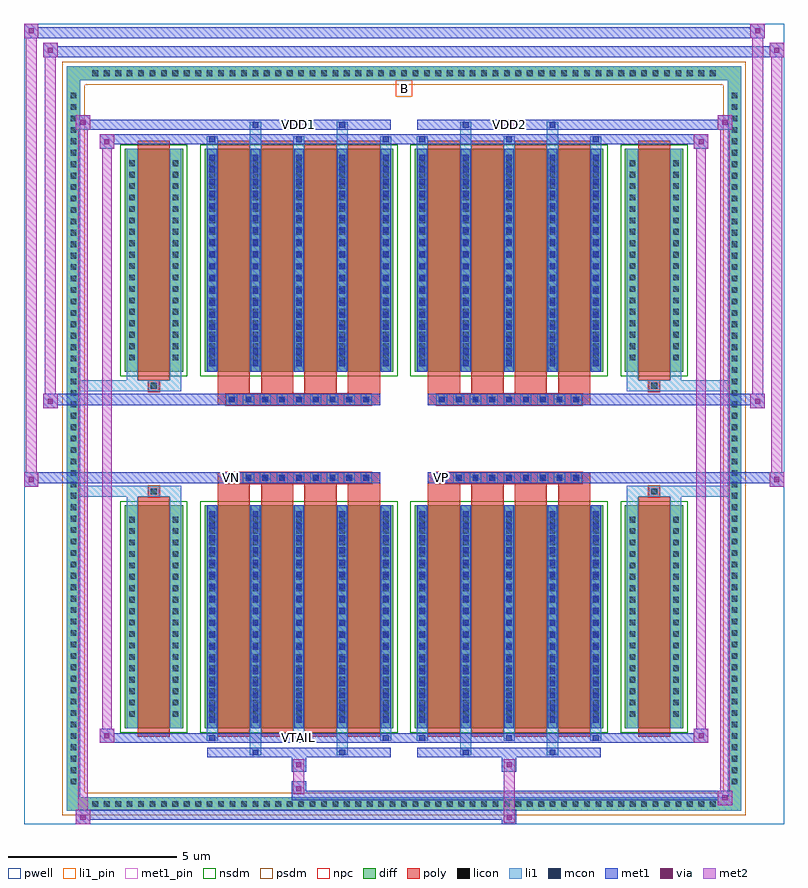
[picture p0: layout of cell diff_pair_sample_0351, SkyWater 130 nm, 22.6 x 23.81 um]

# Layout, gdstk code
import gdstk
lib = gdstk.Library(unit=1e-6, precision=5e-09)
def R(c, l, rs):  # rectangles x0, y0, x1, y1
    for r in rs: c.add(gdstk.rectangle(r[:2], r[2:], *l))
def A(c, l, x, y, w, h, nx, ny, dx, dy):  # array of equal rectangles
    R(c, l, [(x+i*dx, y+j*dy, x+i*dx+w, y+j*dy+h) for i in range(nx) for j in range(ny)])
def P(c, l, *ps):  # polygons
    for p in ps: c.add(gdstk.Polygon(p, *l))
pwell = (64, 44)
diff = (65, 20)
poly = (66, 20)
licon = (66, 44)
li1_pin = (67, 16)
li1 = (67, 20)
mcon = (67, 44)
met1_pin = (68, 16)
met1 = (68, 20)
via = (68, 44)
met2 = (69, 20)
nsdm = (93, 44)
psdm = (94, 20)
npc = (95, 20)

diff_pair_sample_0351 = lib.new_cell('diff_pair_sample_0351')
R(diff_pair_sample_0351, pwell, [(-11.3,-11.47,11.3,12.34), (-8.62,-9.66,-0.01,-0.8), (0.01,-9.66,8.62,-0.8), (-8.62,0.8,-0.01,9.66), (0.01,0.8,8.62,9.66)])
A(diff_pair_sample_0351, diff, -9.385, -11.07, 0.41, 0.41, 55, 2, 0.34, 21.73)
A(diff_pair_sample_0351, diff, -10.03, -10.405, 0.41, 0.41, 1, 61, 0, 0.34)
A(diff_pair_sample_0351, diff, 9.62, -10.405, 0.41, 0.41, 1, 61, 0, 0.34)
R(diff_pair_sample_0351, diff, [(-9.385,-11.07,9.385,-10.66), (-10.03,-10.405,-9.62,10.405), (9.62,-10.405,10.03,10.405), (-8.31,-8.615,-6.57,-1.985), (-5.93,-8.615,-0.32,-1.985), (0.32,-8.615,5.93,-1.985), (6.57,-8.615,8.31,-1.985), (-8.31,1.985,-6.57,8.615), (-5.93,1.985,-0.32,8.615), (0.32,1.985,5.93,8.615), (6.57,1.985,8.31,8.615), (-9.385,10.66,9.385,11.07)])
P(diff_pair_sample_0351, diff, [(10.03,11.07),(-10.03,11.07),(-10.03,-10.66),(-9.62,-10.66),(-9.62,10.66),(9.62,10.66),(9.62,-10.66),(-9.62,-10.66),(-10.03,-10.66),(-10.03,-11.07),(10.03,-11.07)])
A(diff_pair_sample_0351, poly, -5.54, -8.865, 0.96, 7.13, 4, 2, 1.29, 10.6)
A(diff_pair_sample_0351, poly, 0.71, -8.865, 0.96, 7.13, 4, 2, 1.29, 10.6)
A(diff_pair_sample_0351, poly, -5.54, -1.735, 0.96, 0.405, 4, 2, 1.29, 3.065)
A(diff_pair_sample_0351, poly, 0.71, -1.735, 0.96, 0.405, 4, 2, 1.29, 3.065)
A(diff_pair_sample_0351, poly, -5.29, -1.33, 0.33, 0.33, 9, 2, 0.5, 2.33)
A(diff_pair_sample_0351, poly, 0.96, -1.33, 0.33, 0.33, 9, 2, 0.5, 2.33)
R(diff_pair_sample_0351, poly, [(-7.92,-8.865,-6.96,-1.735), (6.96,-8.865,7.92,-1.735), (-7.605,-1.735,-7.275,-1.405), (-7.605,-1.735,-7.275,-1.405), (7.275,-1.735,7.605,-1.405), (7.275,-1.735,7.605,-1.405), (-5.54,-1.33,-0.71,-1), (0.71,-1.33,5.54,-1), (-5.54,1,-0.71,1.33), (0.71,1,5.54,1.33), (-7.605,1.405,-7.275,1.735), (-7.605,1.405,-7.275,1.735), (7.275,1.405,7.605,1.735), (7.275,1.405,7.605,1.735), (-7.92,1.735,-6.96,8.865), (6.96,1.735,7.92,8.865)])
A(diff_pair_sample_0351, licon, -9.265, -10.95, 0.17, 0.17, 55, 2, 0.34, 21.73)
A(diff_pair_sample_0351, licon, -9.91, -10.285, 0.17, 0.17, 1, 61, 0, 0.34)
A(diff_pair_sample_0351, licon, 9.74, -10.285, 0.17, 0.17, 1, 61, 0, 0.34)
A(diff_pair_sample_0351, licon, -8.17, -8.275, 0.17, 0.17, 1, 18, 0, 0.34)
A(diff_pair_sample_0351, licon, -6.88, -8.275, 0.17, 0.17, 1, 18, 0, 0.34)
A(diff_pair_sample_0351, licon, -5.79, -8.275, 0.17, 0.17, 5, 18, 1.29, 0.34)
A(diff_pair_sample_0351, licon, 0.46, -8.275, 0.17, 0.17, 5, 18, 1.29, 0.34)
A(diff_pair_sample_0351, licon, 6.71, -8.275, 0.17, 0.17, 1, 18, 0, 0.34)
A(diff_pair_sample_0351, licon, 8, -8.275, 0.17, 0.17, 1, 18, 0, 0.34)
A(diff_pair_sample_0351, licon, -5.21, -1.25, 0.17, 0.17, 9, 2, 0.5, 2.33)
A(diff_pair_sample_0351, licon, 1.04, -1.25, 0.17, 0.17, 9, 2, 0.5, 2.33)
A(diff_pair_sample_0351, licon, -8.17, 2.325, 0.17, 0.17, 1, 18, 0, 0.34)
A(diff_pair_sample_0351, licon, -6.88, 2.325, 0.17, 0.17, 1, 18, 0, 0.34)
A(diff_pair_sample_0351, licon, -5.79, 2.325, 0.17, 0.17, 5, 18, 1.29, 0.34)
A(diff_pair_sample_0351, licon, 0.46, 2.325, 0.17, 0.17, 5, 18, 1.29, 0.34)
A(diff_pair_sample_0351, licon, 6.71, 2.325, 0.17, 0.17, 1, 18, 0, 0.34)
A(diff_pair_sample_0351, licon, 8, 2.325, 0.17, 0.17, 1, 18, 0, 0.34)
R(diff_pair_sample_0351, licon, [(-7.525,-1.655,-7.355,-1.485), (7.355,-1.655,7.525,-1.485), (-7.525,1.485,-7.355,1.655), (7.355,1.485,7.525,1.655)])
R(diff_pair_sample_0351, li1_pin, [(-0.25,10.16,0.25,10.66)])
A(diff_pair_sample_0351, li1, -9.345, -11.03, 0.33, 0.33, 55, 2, 0.34, 21.73)
A(diff_pair_sample_0351, li1, -9.99, -10.365, 0.33, 0.33, 1, 61, 0, 0.34)
A(diff_pair_sample_0351, li1, 9.66, -10.365, 0.33, 0.33, 1, 61, 0, 0.34)
A(diff_pair_sample_0351, li1, -5.87, -8.99, 0.33, 0.375, 3, 2, 2.58, 17.605)
A(diff_pair_sample_0351, li1, -5.79, -8.99, 0.17, 0.17, 3, 2, 2.58, 17.81)
A(diff_pair_sample_0351, li1, 0.38, -8.99, 0.33, 0.375, 3, 2, 2.58, 17.605)
A(diff_pair_sample_0351, li1, 0.46, -8.99, 0.17, 0.17, 3, 2, 2.58, 17.81)
A(diff_pair_sample_0351, li1, -5.87, -8.615, 0.33, 6.63, 5, 2, 1.29, 10.6)
A(diff_pair_sample_0351, li1, 0.38, -8.615, 0.33, 6.63, 5, 2, 1.29, 10.6)
A(diff_pair_sample_0351, li1, -5.79, -8.445, 0.17, 0.17, 5, 18, 1.29, 0.36)
A(diff_pair_sample_0351, li1, -5.79, -8.445, 0.17, 6.29, 5, 2, 1.29, 10.6)
A(diff_pair_sample_0351, li1, 0.46, -8.445, 0.17, 0.17, 5, 18, 1.29, 0.36)
A(diff_pair_sample_0351, li1, 0.46, -8.445, 0.17, 6.29, 5, 2, 1.29, 10.6)
A(diff_pair_sample_0351, li1, -8.25, -8.355, 0.33, 0.33, 1, 18, 0, 0.34)
A(diff_pair_sample_0351, li1, -6.96, -8.355, 0.33, 0.33, 1, 18, 0, 0.34)
A(diff_pair_sample_0351, li1, -5.87, -8.355, 0.33, 0.33, 5, 18, 1.29, 0.34)
A(diff_pair_sample_0351, li1, 0.38, -8.355, 0.33, 0.33, 5, 18, 1.29, 0.34)
A(diff_pair_sample_0351, li1, 6.63, -8.355, 0.33, 0.33, 1, 18, 0, 0.34)
A(diff_pair_sample_0351, li1, 7.92, -8.355, 0.33, 0.33, 1, 18, 0, 0.34)
A(diff_pair_sample_0351, li1, -5.29, -1.33, 0.33, 0.33, 9, 2, 0.5, 2.33)
A(diff_pair_sample_0351, li1, 0.96, -1.33, 0.33, 0.33, 9, 2, 0.5, 2.33)
A(diff_pair_sample_0351, li1, -5.79, 2.155, 0.17, 0.17, 5, 18, 1.29, 0.36)
A(diff_pair_sample_0351, li1, 0.46, 2.155, 0.17, 0.17, 5, 18, 1.29, 0.36)
A(diff_pair_sample_0351, li1, -8.25, 2.245, 0.33, 0.33, 1, 18, 0, 0.34)
A(diff_pair_sample_0351, li1, -6.96, 2.245, 0.33, 0.33, 1, 18, 0, 0.34)
A(diff_pair_sample_0351, li1, -5.87, 2.245, 0.33, 0.33, 5, 18, 1.29, 0.34)
A(diff_pair_sample_0351, li1, 0.38, 2.245, 0.33, 0.33, 5, 18, 1.29, 0.34)
A(diff_pair_sample_0351, li1, 6.63, 2.245, 0.33, 0.33, 1, 18, 0, 0.34)
A(diff_pair_sample_0351, li1, 7.92, 2.245, 0.33, 0.33, 1, 18, 0, 0.34)
R(diff_pair_sample_0351, li1, [(-10.03,-11.07,-9.62,-10.66), (-10.03,-11.07,-9.62,-10.66), (-9.62,-11.07,9.62,-10.66), (9.62,-11.07,10.03,-10.66), (9.62,-11.07,10.03,-10.66), (-10.03,-10.66,-9.62,10.66), (9.62,-10.66,10.03,10.66), (-4.58,-9.42,-4.25,-8.615), (-4.5,-9.42,-4.33,-9.25), (-2,-9.42,-1.67,-8.615), (-1.92,-9.42,-1.75,-9.25), (1.67,-9.42,2,-8.615), (1.75,-9.42,1.92,-9.25), (4.25,-9.42,4.58,-8.615), (4.33,-9.42,4.5,-9.25), (-8.25,-8.615,-7.92,-1.985), (-6.96,-8.615,-6.63,-1.985), (6.63,-8.615,6.96,-1.985), (7.92,-8.615,8.25,-1.985), (-8.25,-1.985,-7.92,-1.405), (-6.96,-1.985,-6.63,-1.405), (6.63,-1.985,6.96,-1.405), (7.92,-1.985,8.25,-1.405), (-10.03,-1.735,-7.605,-1.405), (-8.25,-1.735,-7.605,-1.405), (-7.605,-1.735,-7.275,-1.405), (-7.275,-1.735,-6.63,-1.405), (6.63,-1.735,7.275,-1.405), (7.275,-1.735,7.605,-1.405), (7.275,-1.735,10.03,-1.405), (7.605,-1.735,8.25,-1.405), (-10.03,1.405,-7.605,1.735), (-8.25,1.405,-7.605,1.735), (-8.25,1.405,-7.92,1.985), (-7.605,1.405,-7.275,1.735), (-7.275,1.405,-6.63,1.735), (-6.96,1.405,-6.63,1.985), (6.63,1.405,7.275,1.735), (6.63,1.405,6.96,1.985), (7.275,1.405,7.605,1.735), (7.275,1.405,10.03,1.735), (7.605,1.405,8.25,1.735), (7.92,1.405,8.25,1.985), (-8.25,1.985,-7.92,8.615), (-6.96,1.985,-6.63,8.615), (6.63,1.985,6.96,8.615), (7.92,1.985,8.25,8.615), (-4.58,8.615,-4.25,9.42), (-2,8.615,-1.67,9.42), (1.67,8.615,2,9.42), (4.25,8.615,4.58,9.42), (-4.5,9.25,-4.33,9.42), (-1.92,9.25,-1.75,9.42), (1.75,9.25,1.92,9.42), (4.33,9.25,4.5,9.42), (-10.03,10.66,-9.62,11.07), (-10.03,10.66,-9.62,11.07), (-9.62,10.66,9.62,11.07), (9.62,10.66,10.03,11.07), (9.62,10.66,10.03,11.07)])
A(diff_pair_sample_0351, mcon, -5.79, -8.99, 0.17, 0.17, 3, 2, 2.58, 17.81)
A(diff_pair_sample_0351, mcon, 0.46, -8.99, 0.17, 0.17, 3, 2, 2.58, 17.81)
A(diff_pair_sample_0351, mcon, -5.79, -8.445, 0.17, 0.17, 5, 18, 1.29, 0.36)
A(diff_pair_sample_0351, mcon, 0.46, -8.445, 0.17, 0.17, 5, 18, 1.29, 0.36)
A(diff_pair_sample_0351, mcon, -5.21, -1.25, 0.17, 0.17, 9, 2, 0.5, 2.33)
A(diff_pair_sample_0351, mcon, 1.04, -1.25, 0.17, 0.17, 9, 2, 0.5, 2.33)
A(diff_pair_sample_0351, mcon, -5.79, 2.155, 0.17, 0.17, 5, 18, 1.29, 0.36)
A(diff_pair_sample_0351, mcon, 0.46, 2.155, 0.17, 0.17, 5, 18, 1.29, 0.36)
R(diff_pair_sample_0351, mcon, [(-4.5,-9.42,-4.33,-9.25), (-1.92,-9.42,-1.75,-9.25), (1.75,-9.42,1.92,-9.25), (4.33,-9.42,4.5,-9.25), (-4.5,9.25,-4.33,9.42), (-1.92,9.25,-1.75,9.42), (1.75,9.25,1.92,9.42), (4.33,9.25,4.5,9.42)])
R(diff_pair_sample_0351, met1_pin, [(-3.26,-9.03,-2.99,-8.76), (-5.26,-1.29,-4.99,-1.02), (0.99,-1.29,1.26,-1.02), (-3.26,9.21,-2.99,9.48), (2.99,9.21,3.26,9.48)])
A(diff_pair_sample_0351, met1, -5.85, -9.05, 0.29, 0.29, 3, 2, 2.58, 17.81)
A(diff_pair_sample_0351, met1, 0.4, -9.05, 0.29, 0.29, 3, 2, 2.58, 17.81)
A(diff_pair_sample_0351, met1, -5.85, -8.615, 0.29, 6.63, 5, 2, 1.29, 10.6)
A(diff_pair_sample_0351, met1, 0.4, -8.615, 0.29, 6.63, 5, 2, 1.29, 10.6)
A(diff_pair_sample_0351, met1, -5.85, -8.505, 0.29, 0.29, 5, 18, 1.29, 0.36)
A(diff_pair_sample_0351, met1, 0.4, -8.505, 0.29, 0.29, 5, 18, 1.29, 0.36)
A(diff_pair_sample_0351, met1, -5.27, -1.31, 0.29, 0.29, 9, 2, 0.5, 2.33)
A(diff_pair_sample_0351, met1, 0.98, -1.31, 0.29, 0.29, 9, 2, 0.5, 2.33)
A(diff_pair_sample_0351, met1, -5.85, 2.095, 0.29, 0.29, 5, 18, 1.29, 0.36)
A(diff_pair_sample_0351, met1, 0.4, 2.095, 0.29, 0.29, 5, 18, 1.29, 0.36)
R(diff_pair_sample_0351, met1, [(-9.76,-11.47,-9.33,-11.04), (2.91,-11.47,3.34,-11.04), (-9.76,-11.33,3.34,-11.04), (9.33,-10.9,9.76,-10.47), (-3.34,-10.76,9.76,-10.47), (-3.34,-10.62,-2.91,-10.19), (-3.34,-9.91,-2.91,-9.48), (2.91,-9.91,3.34,-9.48), (-5.85,-9.48,-0.4,-9.19), (-4.56,-9.48,-4.27,-9.19), (-1.98,-9.48,-1.69,-9.19), (0.4,-9.48,5.85,-9.19), (1.69,-9.48,1.98,-9.19), (4.27,-9.48,4.56,-9.19), (-9.05,-9.05,-8.62,-8.62), (-9.05,-9.05,-5.85,-8.76), (-5.85,-9.05,-0.4,-8.76), (-0.4,-9.05,0.4,-8.76), (0.4,-9.05,5.85,-8.76), (5.85,-9.05,9.05,-8.76), (8.62,-9.05,9.05,-8.62), (-11.3,-1.43,-10.87,-1), (10.87,-1.43,11.3,-1), (-11.3,-1.33,-0.71,-1), (-5.54,-1.33,-0.71,-1), (0.71,-1.33,5.54,-1), (0.71,-1.33,11.3,-1), (-10.73,0.9,-10.3,1.33), (10.3,0.9,10.73,1.33), (-10.73,1,-5.54,1.33), (-5.54,1,-0.71,1.33), (0.71,1,5.54,1.33), (5.54,1,10.73,1.33), (-9.05,8.62,-8.62,9.05), (8.62,8.62,9.05,9.05), (-9.05,8.76,-5.85,9.05), (-5.85,8.76,-0.4,9.05), (-0.4,8.76,0.4,9.05), (0.4,8.76,5.85,9.05), (5.85,8.76,9.05,9.05), (-9.76,9.19,-9.33,9.62), (-9.76,9.19,-5.85,9.48), (-5.85,9.19,-0.4,9.48), (-4.56,9.19,-4.27,9.48), (-1.98,9.19,-1.69,9.48), (0.4,9.19,5.85,9.48), (1.69,9.19,1.98,9.48), (4.27,9.19,4.56,9.48), (5.85,9.19,9.76,9.48), (9.33,9.19,9.76,9.62), (-10.73,11.34,-10.3,11.77), (-10.73,11.34,-8.62,11.67), (-8.62,11.34,8.62,11.67), (8.62,11.34,11.3,11.67), (10.87,11.34,11.3,11.77), (-11.3,11.91,-10.87,12.34), (-11.3,11.91,-8.62,12.24), (-8.62,11.91,8.62,12.24), (8.62,11.91,10.73,12.24), (10.3,11.91,10.73,12.34)])
R(diff_pair_sample_0351, via, [(-9.62,-11.33,-9.47,-11.18), (3.05,-11.33,3.2,-11.18), (9.47,-10.76,9.62,-10.61), (-3.2,-10.48,-3.05,-10.33), (-3.2,-9.77,-3.05,-9.62), (3.05,-9.77,3.2,-9.62), (-8.91,-8.91,-8.76,-8.76), (8.76,-8.91,8.91,-8.76), (-11.16,-1.29,-11.01,-1.14), (11.01,-1.29,11.16,-1.14), (-10.59,1.04,-10.44,1.19), (10.44,1.04,10.59,1.19), (-8.91,8.76,-8.76,8.91), (8.76,8.76,8.91,8.91), (-9.62,9.33,-9.47,9.48), (9.47,9.33,9.62,9.48), (-10.59,11.48,-10.44,11.63), (11.01,11.48,11.16,11.63), (-11.16,12.05,-11.01,12.2), (10.44,12.05,10.59,12.2)])
R(diff_pair_sample_0351, met2, [(-9.76,-11.47,-9.33,-11.04), (-9.69,-11.47,-9.4,9.62), (-9.4,-11.47,-9.33,-11.04), (-9.71,-11.42,-9.38,-11.09), (2.96,-11.42,3.29,-11.09), (2.96,-11.09,3.29,-9.86), (9.33,-10.9,9.76,-10.47), (9.4,-10.9,9.69,9.62), (9.69,-10.9,9.76,-10.47), (9.38,-10.85,9.71,-10.52), (-3.29,-10.57,-2.96,-10.24), (-3.29,-10.24,-2.96,-9.86), (-3.29,-9.86,-2.96,-9.53), (2.96,-9.86,3.29,-9.53), (-9.05,-9.05,-8.62,-8.62), (-8.98,-9.05,-8.69,9.05), (-8.69,-9.05,-8.62,-8.62), (8.62,-9.05,9.05,-8.62), (8.69,-9.05,8.98,9.05), (8.98,-9.05,9.05,-8.62), (-9,-9,-8.67,-8.67), (8.67,-9,9,-8.67), (-11.3,-1.43,-10.87,-1), (-11.25,-1.43,-10.92,12.34), (-10.92,-1.43,-10.87,-1), (10.87,-1.43,11.3,-1), (10.92,-1.43,11.25,11.77), (11.25,-1.43,11.3,-1), (-11.25,-1.38,-10.92,-1.05), (10.92,-1.38,11.25,-1.05), (-10.73,0.9,-10.3,1.33), (-10.68,0.9,-10.35,11.77), (-10.35,0.9,-10.3,1.33), (10.3,0.9,10.73,1.33), (10.35,0.9,10.68,12.34), (10.68,0.9,10.73,1.33), (-10.68,0.95,-10.35,1.28), (10.35,0.95,10.68,1.28), (-9.05,8.62,-8.62,9.05), (-8.69,8.62,-8.62,9.05), (8.62,8.62,9.05,9.05), (8.98,8.62,9.05,9.05), (-9,8.67,-8.67,9), (8.67,8.67,9,9), (-9.76,9.19,-9.33,9.62), (-9.4,9.19,-9.33,9.62), (9.33,9.19,9.76,9.62), (9.69,9.19,9.76,9.62), (-9.71,9.24,-9.38,9.57), (9.38,9.24,9.71,9.57), (-10.73,11.34,-10.3,11.77), (-10.35,11.34,-10.3,11.77), (10.87,11.34,11.3,11.77), (11.25,11.34,11.3,11.77), (-10.68,11.39,-10.35,11.72), (10.92,11.39,11.25,11.72), (-11.3,11.91,-10.87,12.34), (-10.92,11.91,-10.87,12.34), (10.3,11.91,10.73,12.34), (10.68,11.91,10.73,12.34), (-11.25,11.96,-10.92,12.29), (10.35,11.96,10.68,12.29)])
R(diff_pair_sample_0351, nsdm, [(-8.44,-8.745,-6.44,-1.855), (-6.06,-8.745,-0.19,-1.855), (0.19,-8.745,6.06,-1.855), (6.44,-8.745,8.44,-1.855), (-8.44,1.855,-6.44,8.745), (-6.06,1.855,-0.19,8.745), (0.19,1.855,6.06,8.745), (6.44,1.855,8.44,8.745)])
P(diff_pair_sample_0351, psdm, [(10.16,11.2),(-10.16,11.2),(-10.16,-10.53),(-9.49,-10.53),(-9.49,10.53),(9.49,10.53),(9.49,-10.53),(-9.49,-10.53),(-10.16,-10.53),(-10.16,-11.2),(10.16,-11.2)])
A(diff_pair_sample_0351, npc, -5.31, -1.35, 0.37, 0.37, 9, 2, 0.5, 2.33)
A(diff_pair_sample_0351, npc, 0.94, -1.35, 0.37, 0.37, 9, 2, 0.5, 2.33)
R(diff_pair_sample_0351, npc, [(-7.625,-1.755,-7.255,-1.385), (7.255,-1.755,7.625,-1.385), (-5.31,-1.35,-4.44,-0.98), (-5.31,-1.35,-4.44,-0.98), (-4.81,-1.35,-3.94,-0.98), (-4.81,-1.35,-3.94,-0.98), (-4.31,-1.35,-3.44,-0.98), (-4.31,-1.35,-3.44,-0.98), (-3.81,-1.35,-2.94,-0.98), (-3.81,-1.35,-2.94,-0.98), (-3.31,-1.35,-2.44,-0.98), (-3.31,-1.35,-2.44,-0.98), (-2.81,-1.35,-1.94,-0.98), (-2.81,-1.35,-1.94,-0.98), (-2.31,-1.35,-1.44,-0.98), (-2.31,-1.35,-1.44,-0.98), (-1.81,-1.35,-0.94,-0.98), (-1.81,-1.35,-0.94,-0.98), (0.94,-1.35,1.81,-0.98), (0.94,-1.35,1.81,-0.98), (1.44,-1.35,2.31,-0.98), (1.44,-1.35,2.31,-0.98), (1.94,-1.35,2.81,-0.98), (1.94,-1.35,2.81,-0.98), (2.44,-1.35,3.31,-0.98), (2.44,-1.35,3.31,-0.98), (2.94,-1.35,3.81,-0.98), (2.94,-1.35,3.81,-0.98), (3.44,-1.35,4.31,-0.98), (3.44,-1.35,4.31,-0.98), (3.94,-1.35,4.81,-0.98), (3.94,-1.35,4.81,-0.98), (4.44,-1.35,5.31,-0.98), (4.44,-1.35,5.31,-0.98), (-5.31,0.98,-4.44,1.35), (-5.31,0.98,-4.44,1.35), (-4.81,0.98,-3.94,1.35), (-4.81,0.98,-3.94,1.35), (-4.31,0.98,-3.44,1.35), (-4.31,0.98,-3.44,1.35), (-3.81,0.98,-2.94,1.35), (-3.81,0.98,-2.94,1.35), (-3.31,0.98,-2.44,1.35), (-3.31,0.98,-2.44,1.35), (-2.81,0.98,-1.94,1.35), (-2.81,0.98,-1.94,1.35), (-2.31,0.98,-1.44,1.35), (-2.31,0.98,-1.44,1.35), (-1.81,0.98,-0.94,1.35), (-1.81,0.98,-0.94,1.35), (0.94,0.98,1.81,1.35), (0.94,0.98,1.81,1.35), (1.44,0.98,2.31,1.35), (1.44,0.98,2.31,1.35), (1.94,0.98,2.81,1.35), (1.94,0.98,2.81,1.35), (2.44,0.98,3.31,1.35), (2.44,0.98,3.31,1.35), (2.94,0.98,3.81,1.35), (2.94,0.98,3.81,1.35), (3.44,0.98,4.31,1.35), (3.44,0.98,4.31,1.35), (3.94,0.98,4.81,1.35), (3.94,0.98,4.81,1.35), (4.44,0.98,5.31,1.35), (4.44,0.98,5.31,1.35), (-7.625,1.385,-7.255,1.755), (7.255,1.385,7.625,1.755)])
diff_pair_sample_0351.add(gdstk.Label('VTAIL', (-3.125,-8.895), layer=68, texttype=5))
diff_pair_sample_0351.add(gdstk.Label('VN', (-5.125,-1.155), layer=68, texttype=5))
diff_pair_sample_0351.add(gdstk.Label('VP', (1.125,-1.155), layer=68, texttype=5))
diff_pair_sample_0351.add(gdstk.Label('B', (0,10.41), layer=67, texttype=5))
diff_pair_sample_0351.add(gdstk.Label('VDD2', (3.125,9.345), layer=68, texttype=5))
diff_pair_sample_0351.add(gdstk.Label('VDD1', (-3.125,9.345), layer=68, texttype=5))

lib.write_gds('diff_pair_sample_0351.gds')
